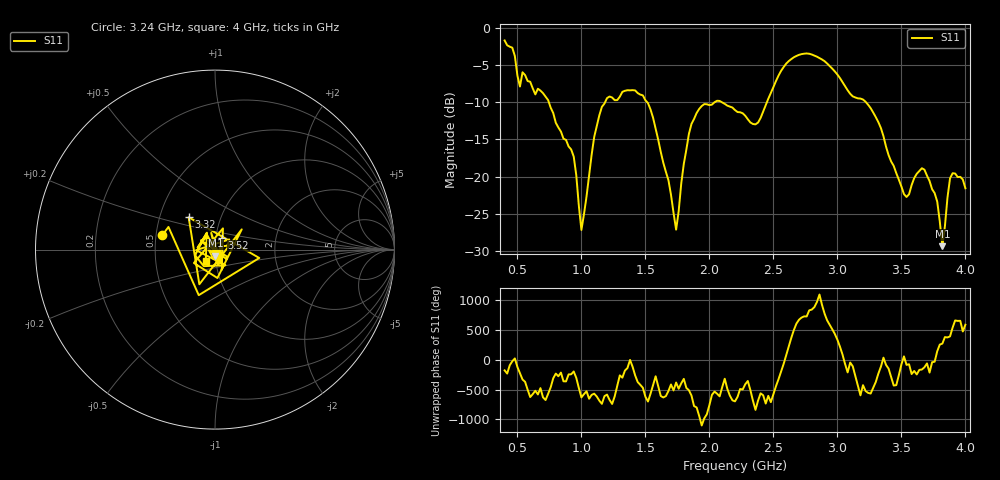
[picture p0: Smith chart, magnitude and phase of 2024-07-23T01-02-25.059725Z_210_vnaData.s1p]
!Created with skrf (http://scikit-rf.org).
# Hz S RI R 50.0
!freq ReS11 ImS11
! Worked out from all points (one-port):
!   181 points, 400 MHz to 4 GHz, reference 50 ohm
!   lowest |S11| = -29.4 dB at 3.82 GHz (marker M1), VSWR 1.07, Z = 50.1 - j3.41 ohm
!   |S11| at or under -10 dB: 745.6 MHz to 1.185 GHz (439.2 MHz wide, 45.5 % of centre); 1.514 GHz to 2.04 GHz (526.2 MHz wide, 29.6 % of centre); 3.223 GHz to end of sweep (the widest 3 of 4)
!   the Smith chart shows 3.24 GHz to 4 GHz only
!   S11 on the Smith chart (normalised r, x): 3.24 GHz: 0.54, +0.10; 3.32 GHz: 0.70, +0.27; 3.52 GHz: 1.07, +0.14; 4 GHz: 0.89, -0.12
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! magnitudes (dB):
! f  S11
! 400 MHz  -1.7
! 460 MHz  -2.7
! 520 MHz  -7.9
! 700 MHz  -8.8
! 860 MHz  -14.9
! 940 MHz  -17.3
! 1 GHz  -27.2
! 1.14 GHz  -11.8
! 1.3 GHz  -9.3
! 1.52 GHz  -10.1
! 1.74 GHz  -27.1
! 1.76 GHz  -24.6
! 1.84 GHz  -14.2
! 1.9 GHz  -11.5
! 2.2 GHz  -11.1
! 2.38 GHz  -12.7
! 2.66 GHz  -3.9
! 2.88 GHz  -4.3
! 3.1 GHz  -8.9
! 3.24 GHz  -10.3
! 3.32 GHz  -12.7
! 3.52 GHz  -22.3
! 3.56 GHz  -22.4
! 3.68 GHz  -19.1
! 3.78 GHz  -23.4
! 3.82 GHz  -29.4
! 3.88 GHz  -20.2
! 4 GHz  -21.6
